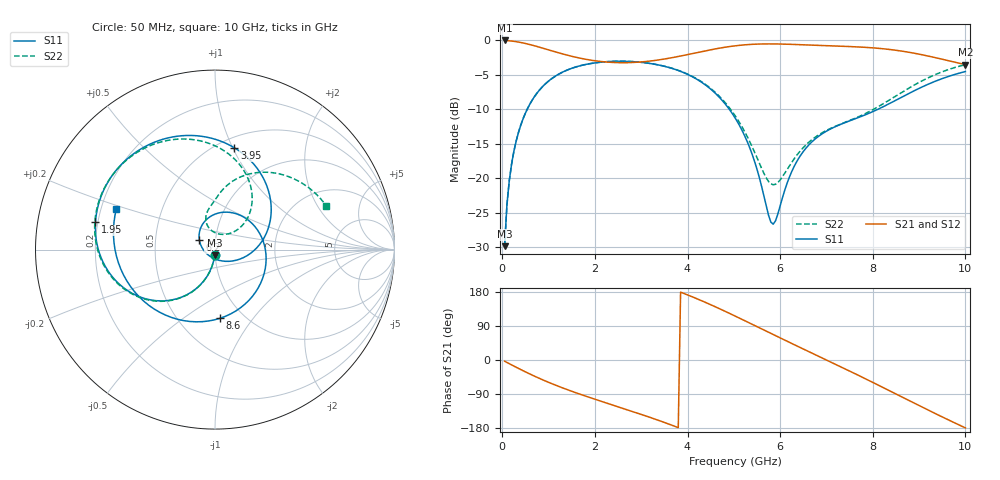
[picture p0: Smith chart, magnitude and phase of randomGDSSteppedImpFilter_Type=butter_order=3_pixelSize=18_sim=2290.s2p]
! freq	dB(S11)	phase(S11)	dB(S12)	phase(S12)
!  dB(S21)	phase(S21)	dB(S22)	phase(S22)
!S-par simulation data
#  GHz  S  DB  R 50
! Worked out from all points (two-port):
!   200 points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, 50 MHz to 10 GHz, reference 50 ohm
!   highest |S21| = -0.01 dB at 50 MHz (marker M1); lowest = -3.5 dB at 10 GHz (marker M2)
!   |S21| within 3 dB of the highest: start of sweep to 2.064 GHz; 3.175 GHz to 9.677 GHz (6.501 GHz wide, 101 % of centre)
!   lowest |S11| = -29.8 dB at 50 MHz (marker M3), VSWR 1.07, Z = 49.7 - j3.2 ohm
!   |S11| at or under -10 dB: start of sweep to 537.3 MHz; 4.903 GHz to 8.107 GHz (3.205 GHz wide, 49.3 % of centre)
!   |S22| runs from -29.8 to -3.0 dB; largest |S21 - S12| = 0
!   S11 on the Smith chart (normalised r, x): 50 MHz: 0.99, -0.06; 1.95 GHz: 0.19, +0.11; 3.95 GHz: 0.60, +1.02; 6.2 GHz: 0.84, +0.09; 8.6 GHz: 0.78, -0.70; 10 GHz: 0.26, +0.18
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0.05  -29.84 -93.4  -0.01 -3.3  -0.01 -3.3  -29.84 -93.4
0.1  -23.86 -96.9  -0.03 -6.5  -0.03 -6.5  -23.86 -96.8
0.2  -17.96 -103.5  -0.09 -12.9  -0.09 -12.9  -17.96 -103.4
0.5  -10.53 -122.0  -0.45 -31.4  -0.45 -31.4  -10.53 -121.7
1.05  -5.63 -152.4  -1.47 -61.5  -1.47 -61.5  -5.63 -151.6
1.75  -3.56 175.5  -2.67 -93.3  -2.67 -93.3  -3.56 177.0
1.95  -3.31 167.1  -2.90 -101.5  -2.90 -101.5  -3.31 168.9
2.6  -3.02 140.5  -3.23 -127.4  -3.23 -127.4  -3.02 143.8
3.4  -3.60 106.2  -2.81 -160.4  -2.81 -160.4  -3.59 112.9
3.95  -4.77 79.2  -2.13 174.3  -2.13 174.3  -4.73 90.3
4.5  -7.06 47.9  -1.36 145.9  -1.36 145.9  -6.96 66.8
5.05  -11.50 10.1  -0.77 114.7  -0.77 114.7  -11.14 46.2
5.4  -16.60 -21.1  -0.57 93.9  -0.57 93.9  -15.49 41.6
5.8  -26.36 -105.1  -0.51 70.1  -0.51 70.1  -20.80 69.4
6.2  -19.82 148.6  -0.56 46.5  -0.56 46.5  -18.18 105.1
6.7  -14.62 98.4  -0.69 17.5  -0.69 17.5  -14.32 105.2
7.45  -11.80 29.6  -0.88 -26.1  -0.88 -26.1  -11.76 92.9
7.9  -10.62 -15.5  -1.03 -53.0  -1.03 -53.0  -10.41 86.8
8.35  -9.20 -61.3  -1.30 -80.5  -1.30 -80.5  -8.67 78.8
8.6  -8.32 -85.8  -1.53 -95.9  -1.53 -95.9  -7.64 72.6
9.3  -6.06 -148.2  -2.42 -138.4  -2.42 -138.4  -5.10 49.2
10  -4.52 157.6  -3.51 -179.2  -3.51 -179.2  -3.53 21.4
